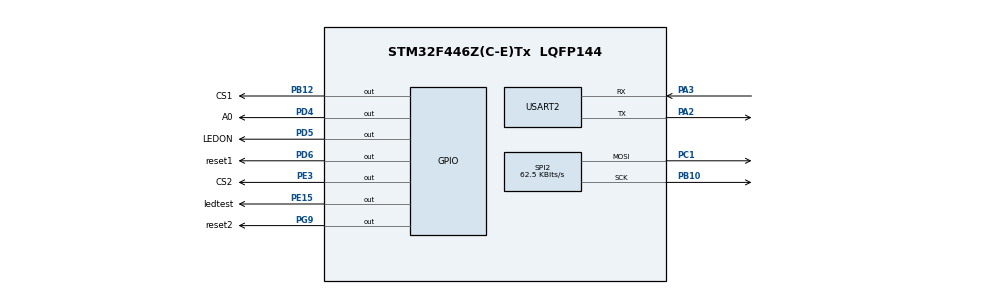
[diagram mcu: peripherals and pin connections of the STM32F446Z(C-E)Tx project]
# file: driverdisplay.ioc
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FREERTOS.Tasks01=defaultTask,24,128,StartDefaultTask,Default,NULL,Dynamic,NULL,NULL
FREERTOS.configUSE_NEWLIB_REENTRANT=1
Mcu.Family=STM32F4
Mcu.Name=STM32F446Z(C-E)Tx
Mcu.Package=LQFP144
NVIC.PriorityGroup=NVIC_PRIORITYGROUP_4
NVIC.TIM6_DAC_IRQn=true\:15\:0\:false\:false\:true\:false\:false\:true
NVIC.TimeBase=TIM6_DAC_IRQn
NVIC.TimeBaseIP=TIM6
PA13.Mode=Serial_Wire
PA13.Signal=SYS_JTMS-SWDIO
PA14.Mode=Serial_Wire
PA14.Signal=SYS_JTCK-SWCLK
PA2.Mode=Asynchronous
PA2.Signal=USART2_TX
PA3.Mode=Asynchronous
PA3.Signal=USART2_RX
PB10.Mode=TX_Only_Simplex_Unidirect_Master
PB10.Signal=SPI2_SCK
PB12.GPIO_Label=CS1
PB12.Signal=GPIO_Output
PC1.Mode=TX_Only_Simplex_Unidirect_Master
PC1.Signal=SPI2_MOSI
PD4.GPIO_Label=A0
PD4.Signal=GPIO_Output
PD5.GPIO_Label=LEDON
PD5.Signal=GPIO_Output
PD6.GPIO_Label=reset1
PD6.Signal=GPIO_Output
PE15.GPIO_Label=ledtest
PE15.Signal=GPIO_Output
PE3.GPIO_Label=CS2
PE3.Signal=GPIO_Output
PG9.GPIO_Label=reset2
PG9.Signal=GPIO_Output
ProjectManager.HeapSize=0x200
ProjectManager.StackSize=0x400
ProjectManager.TargetToolchain=STM32CubeIDE
RCC.CortexFreq_Value=16000000
RCC.USBFreq_Value=96000000
RCC.VCOOutputFreq_Value=192000000
SPI2.BaudRatePrescaler=SPI_BAUDRATEPRESCALER_256
SPI2.CLKPhase=SPI_PHASE_2EDGE
SPI2.CLKPolarity=SPI_POLARITY_HIGH
SPI2.CalculateBaudRate=62.5 KBits/s
SPI2.Direction=SPI_DIRECTION_2LINES
SPI2.Mode=SPI_MODE_MASTER
SPI2.VirtualType=VM_MASTER
USART2.VirtualMode=VM_ASYNC
VP_FREERTOS_VS_CMSIS_V2.Mode=CMSIS_V2
VP_SYS_VS_tim6.Mode=TIM6
VP_TIM7_VS_ClockSourceINT.Mode=Enable_Timer
board=custom

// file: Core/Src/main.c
/* USER CODE BEGIN Header */
/**
  ******************************************************************************
  * @file           : main.c
  * @brief          : Main program body
  ******************************************************************************
  * @attention
  *
  * Copyright (c) 2022 STMicroelectronics.
  * All rights reserved.
  *
  * This software is licensed under terms that can be found in the LICENSE file
  * in the root directory of this software component.
  * If no LICENSE file comes with this software, it is provided AS-IS.
  *
  ******************************************************************************
  */
/* USER CODE END Header */
#include "main.h"
#include "cmsis_os.h"

/* USER CODE BEGIN Includes */
#include "glcd.h"
#include "fonts/font5x7.h"
#include "fonts/Liberation_Sans20x28_Numbers.h"
#include "fonts/Liberation_Sans17x17_Alpha.h"
#include <time.h>
#include <stdlib.h>
/* USER CODE END Includes */

/* USER CODE BEGIN PD */
#define MAX_SPI_TRANSMIT_TIMEOUT 50 //in ms, arbitrarily chosen
#define MAX_UART_TRANSMIT_TIMEOUT 50 //in ms, arbitrarily chosen

// pins
#define SCK_PORT GPIOB
#define SCK_PIN GPIO_PIN_10
#define SI_PORT GPIOC
#define SI_PIN GPIO_PIN_1
#define CS1_PORT GPIOB
#define CS1_PIN GPIO_PIN_12
#define CS2_PORT GPIOE
#define CS2_PIN GPIO_PIN_3
#define RST1_PORT GPIOD
#define RST1_PIN GPIO_PIN_6
#define RST2_PORT GPIOG
#define RST2_PIN GPIO_PIN_9
#define A0_PORT GPIOD
#define A0_PIN GPIO_PIN_4
#define LEDON_PORT GPIOD
#define LEDON_PIN GPIO_PIN_5

//DEBUG PURPOSES
//#define DELAY_BETWEEN_WRITES
#define DELAY_DURATION_BETWEEN_WRITES 100
/* USER CODE END PD */

SPI_HandleTypeDef hspi2;

TIM_HandleTypeDef htim7;

UART_HandleTypeDef huart2;

/* Definitions for defaultTask */
osThreadId_t defaultTaskHandle;
const osThreadAttr_t defaultTask_attributes = {
  .name = "defaultTask",
  .stack_size = 128 * 4,
  .priority = (osPriority_t) osPriorityNormal,
};

void SystemClock_Config(void);
static void MX_GPIO_Init(void);
static void MX_SPI2_Init(void);
static void MX_TIM7_Init(void);
static void MX_USART2_UART_Init(void);
void StartDefaultTask(void *argument);

/* USER CODE BEGIN 0 */
uint8_t correct_Y(uint8_t y){
	return ((y+48)%64);
}

// p1 stuff start

void drawP1Default(int value[4]){
	char* labelsP1[] = {"Solar:", "Motor:", "Battery:"};
	int labelsP1L = 3;
	char* labelspeed = "km/h";

	glcd_tiny_set_font(Font5x7,5,7,32,127);
	glcd_clear_buffer();

	// start drawing at y = 5
	uint8_t y = 5;

	// draw the labels
	for(int i = 0; i < labelsP1L; i++){
		char* label = labelsP1[i];
		int j = 0;
		// char by char cuz draw xy only with char
		while(label[j] != 0){
			glcd_tiny_draw_char_xy(j*6, correct_Y(y), label[j]);
			j++;
		}
		glcd_tiny_draw_char_xy(72, correct_Y(y), 'w');
		// go next rows, these value are just what I think will look good
		y+=23;
	}

	// draw divider line
	glcd_draw_line(81, 0,  81, 63, BLACK);
	int x = 0;
	// draw km/h
	while(labelspeed[x] != 0){
		glcd_tiny_draw_char_xy(94+(x*6), correct_Y(52), labelspeed[x]);
		x++;
	}

	// draw the numbers
	char valueS[4][4];

	// get it in strings
	for(int i = 0; i < 4; i++){
		// sign
		int v = value[i];
		if(v<0){
			valueS[i][0] = '-';
			v *= -1;
		}
		else{
			valueS[i][0] = '+';
		}
		// hundred
		if(v/100 != 0){
			valueS[i][1] = '0' + v/100;
		}
		else{
			valueS[i][1] = ' ';
		}
		// tenth
		if((v/10)%10 != 0 || valueS[i][1] != ' '){
			valueS[i][2] = '0' + (v/10)%10;
		}
		else{
			valueS[i][2] = ' ';
		}
		// ones
		valueS[i][3] = '0' + v%10;
	}

	// write the 3 small values
	y = 5;
	for(int i = 0; i < 3; i++){
		for(int j = 0; j < 4; j++){
			glcd_tiny_draw_char_xy(48+(j*6), correct_Y(y), valueS[i][j]);
		}
		y+=23;
	}

	// now write the big speed
	glcd_set_font(Liberation_Sans20x28_Numbers, 20, 28, '.', '9');
	glcd_draw_char_xy(85, 0, valueS[3][2]);
	glcd_draw_char_xy(105, 0, valueS[3][3]);

	HAL_GPIO_WritePin(CS1_GPIO_Port, CS1_Pin, GPIO_PIN_RESET);
	glcd_write();
	HAL_GPIO_WritePin(CS1_GPIO_Port, CS1_Pin, GPIO_PIN_SET);
}

void drawP1Detailed(int value[9]){
	char* labelsP1[] = {"Solar:", "Motor:", "Battery:"};
	int labelsP1L = 3;

	glcd_tiny_set_font(Font5x7,5,7,32,127);
	glcd_clear_buffer();

	// start drawing at y = 5
	uint8_t y = 5;

	// draw the labels
	for(int i = 0; i < labelsP1L; i++){
		char* label = labelsP1[i];
		int j = 0;
		// char by char cuz draw xy only with char
		while(label[j] != 0){
			glcd_tiny_draw_char_xy(j*6, correct_Y(y), label[j]);
			j++;
		}
		glcd_tiny_draw_char_xy(72, correct_Y(y), 'w');
		// go next rows, these value are just what I think will look good
		y+=23;
	}

	// draw the numbers
	char valueS[9][4];

	glcd_tiny_set_font(Font5x7,5,7,32,127);

	// get it in strings
	for(int i = 0; i < 9; i++){
		// sign
		int v = value[i];
		if(v<0){
			valueS[i][0] = '-';
			v *= -1;
		}
		else{
			valueS[i][0] = '+';
		}
		// hundred
		if(v/100 != 0){
			valueS[i][1] = '0' + v/100;
		}
		else{
			valueS[i][1] = ' ';
		}
		// tenth
		if((v/10)%10 != 0 || valueS[i][1] != ' '){
			valueS[i][2] = '0' + (v/10)%10;
		}
		else{
			valueS[i][2] = ' ';
		}
		// ones
		valueS[i][3] = '0' + v%10;
	}

	// write the 3 small values
	y = 5;
	for(int i = 0; i < 3; i++){
		for(int j = 0; j < 4; j++){
			glcd_tiny_draw_char_xy(48+(j*6), correct_Y(y), valueS[i][j]);
		}
		y+=23;
	}

	// write the 6 small values
	y = 5;
	for(int i = 3; i < 9; i+=2){
        glcd_tiny_draw_char_xy(78, correct_Y(y), '(');
        glcd_tiny_draw_char_xy(82, correct_Y(y), valueS[i][2]);
        glcd_tiny_draw_char_xy(87, correct_Y(y), valueS[i][3]);
        glcd_tiny_draw_char_xy(92, correct_Y(y), 'V');
        glcd_tiny_draw_char_xy(97, correct_Y(y), ',');
        glcd_tiny_draw_char_xy(102, correct_Y(y), valueS[i+1][2]);
        glcd_tiny_draw_char_xy(107, correct_Y(y), valueS[i+1][3]);
        glcd_tiny_draw_char_xy(112, correct_Y(y), 'A');
        glcd_tiny_draw_char_xy(117, correct_Y(y), ')');
		y+=23;
	}

	HAL_GPIO_WritePin(CS1_GPIO_Port, CS1_Pin, GPIO_PIN_RESET);
	glcd_write();
	HAL_GPIO_WritePin(CS1_GPIO_Port, CS1_Pin, GPIO_PIN_SET);
}

void drawP1Activate(){
	char* labels[] = {"CRUISE CONTROL", "ACTIVATED"};

	glcd_tiny_set_font(Font5x7,5,7,32,127);
	glcd_clear_buffer();

	// start drawing at y = 5
	uint8_t y = 12;
    uint8_t x = 22;

    char* ptr = labels[0];

    while(*ptr != '\0'){
        glcd_tiny_draw_char_xy(x, correct_Y(y), *ptr);
        x+=6;
    }

    y = 36;
    x = 37;

    ptr = labels[1];

    while(*ptr != '\0'){
        glcd_tiny_draw_char_xy(x, correct_Y(y), *ptr);
        x+=6;
    }

	HAL_GPIO_WritePin(CS1_GPIO_Port, CS1_Pin, GPIO_PIN_RESET);
	glcd_write();
	HAL_GPIO_WritePin(CS1_GPIO_Port, CS1_Pin, GPIO_PIN_SET);
}

void drawP1Deactivate(){
	char* labels[] = {"CRUISE CONTROL", "DEACTIVATED"};

	glcd_tiny_set_font(Font5x7,5,7,32,127);
	glcd_clear_buffer();

	// start drawing at y = 5
	uint8_t y = 12;
    uint8_t x = 22;

    char* ptr = labels[0];

    while(*ptr != '\0'){
        glcd_tiny_draw_char_xy(x, correct_Y(y), *ptr);
        x+=6;
    }

    y = 36;
    x = 31;

    ptr = labels[1];

    while(*ptr != '\0'){
        glcd_tiny_draw_char_xy(x, correct_Y(y), *ptr);
        x+=6;
    }

	HAL_GPIO_WritePin(CS1_GPIO_Port, CS1_Pin, GPIO_PIN_RESET);
	glcd_write();
	HAL_GPIO_WritePin(CS1_GPIO_Port, CS1_Pin, GPIO_PIN_SET);
}

void drawP1IgnitionOff(){
    char* labels[] = {"CAR IS", "SLEEPING"};

	glcd_tiny_set_font(Font5x7,5,7,32,127);
	glcd_clear_buffer();

	// start drawing at y = 5
	uint8_t y = 12;
    uint8_t x = 46;

    char* ptr = labels[0];

    while(*ptr != '\0'){
        glcd_tiny_draw_char_xy(x, correct_Y(y), *ptr);
        x+=6;
    }

    y = 36;
    x = 40;

    ptr = labels[1];

    while(*ptr != '\0'){
        glcd_tiny_draw_char_xy(x, correct_Y(y), *ptr);
        x+=6;
    }

	HAL_GPIO_WritePin(CS1_GPIO_Port, CS1_Pin, GPIO_PIN_RESET);
	glcd_write();
	HAL_GPIO_WritePin(CS1_GPIO_Port, CS1_Pin, GPIO_PIN_SET);
}

void drawP1BMSFault(){
    char* labels[] = {"BMS FAULT DETECTED", "CAR OFF"};

	glcd_tiny_set_font(Font5x7,5,7,32,127);
	glcd_clear_buffer();

	// start drawing at y = 5
	uint8_t y = 12;
    uint8_t x = 10;

    char* ptr = labels[0];

    while(*ptr != '\0'){
        glcd_tiny_draw_char_xy(x, correct_Y(y), *ptr);
        x+=6;
    }

    y = 36;
    x = 43;

    ptr = labels[1];

    while(*ptr != '\0'){
        glcd_tiny_draw_char_xy(x, correct_Y(y), *ptr);
        x+=6;
    }

	HAL_GPIO_WritePin(CS1_GPIO_Port, CS1_Pin, GPIO_PIN_RESET);
	glcd_write();
	HAL_GPIO_WritePin(CS1_GPIO_Port, CS1_Pin, GPIO_PIN_SET);
}

// draw p1
void drawP1(){
	int defaultTest[4] = {420, 874, -454, 69};
	int defaultDetailed[9] = {1, 2, 3, 4, 5, 6, 7, 8, 9};
	drawP1Default(defaultTest);
//	drawP1Detailed(defaultDetailed);
//	drawP1Activate();
//	drawP1Deactivate();
//	drawP1IgnitionOff();
//	drawP1BMSFault();
}

// p2 stuff start
void drawP2Default(int value[4]){
	char* labelsP2[] = {"Cruise:", "Light:"};
	int labelsP2L = 2;

	glcd_tiny_set_font(Font5x7,5,7,32,127);
	glcd_clear_buffer();

	uint8_t y = 5;
	for(int i = 0; i < labelsP2L; i++){
		char* label = labelsP2[i];
		int j = 0;
		while(label[j] != 0){
			glcd_tiny_draw_char_xy(50+j*6, correct_Y(y), label[j]);
			j++;
		}
		y+=23;
	}

	glcd_draw_line(44, 0,  44, 63, BLACK);
	glcd_tiny_draw_char_xy(19, correct_Y(52), '%');

    glcd_tiny_set_font(Font5x7,5,7,32,127);

	// write the 2 on off
	y = 5;
	for(int i = 0; i < 2; i++){
		char* status = "OFF";
		if(value[i]) status = " ON";
		for(int j = 0; j < 3; j++){
			glcd_tiny_draw_char_xy(95+(j*6), correct_Y(y), status[j]);
		}
		y+=23;
	}

	char* regen = "     ";
	if(value[2]) regen = "REGEN";

	glcd_set_font(Liberation_Sans17x17_Alpha, 17, 17, 'A', 'Z');
	for(int i = 0; i < 5; i++){
		glcd_draw_char_xy(49+i*15, 30, regen[i]);
	}

	// now write the big battery
	glcd_set_font(Liberation_Sans20x28_Numbers, 20, 28, '.', '9');
	glcd_draw_char_xy(0, 0, '0' + value[3]/10);
	glcd_draw_char_xy(21, 0, '0' + value[3]%10);

	HAL_GPIO_WritePin(CS2_GPIO_Port, CS2_Pin, GPIO_PIN_RESET);
	glcd_write();
	HAL_GPIO_WritePin(CS2_GPIO_Port, CS2_Pin, GPIO_PIN_SET);
}

void drawP2Detailed(int value[4]){
	char* labelsP2[] = {"Low voltage:", "Max pack temp:"};
	int labelsP2L = 2;

	glcd_tiny_set_font(Font5x7,5,7,32,127);
	glcd_clear_buffer();

	uint8_t y = 5;
	for(int i = 0; i < labelsP2L; i++){
		char* label = labelsP2[i];
		int j = 0;
		while(label[j] != 0){
			glcd_tiny_draw_char_xy(j*(5), correct_Y(y), label[j]);
			j++;
		}
		y+=23;
	}

    // draw the numbers
	char valueS[4][4];

	// get it in strings
	for(int i = 0; i < 4; i++){
		// sign
		int v = value[i];
		if(v<0){
			valueS[i][0] = '-';
			v *= -1;
		}
		else{
			valueS[i][0] = '+';
		}
		// hundred
		if(v/100 != 0){
			valueS[i][1] = '0' + v/100;
		}
		else{
			valueS[i][1] = ' ';
		}
		// tenth
		if((v/10)%10 != 0 || valueS[i][1] != ' '){
			valueS[i][2] = '0' + (v/10)%10;
		}
		else{
			valueS[i][2] = ' ';
		}
		// ones
		valueS[i][3] = '0' + v%10;
	}

    // write the 4 small values
	y = 5;
    // the watt and V and A
    glcd_tiny_draw_char_xy(60, correct_Y(y), valueS[0][2]);
    glcd_tiny_draw_char_xy(65, correct_Y(y), valueS[0][3]);
    glcd_tiny_draw_char_xy(70, correct_Y(y), 'W');
    glcd_tiny_draw_char_xy(75, correct_Y(y), '(');
    glcd_tiny_draw_char_xy(80, correct_Y(y), valueS[1][2]);
    glcd_tiny_draw_char_xy(85, correct_Y(y), valueS[1][3]);
    glcd_tiny_draw_char_xy(90, correct_Y(y), 'V');
    glcd_tiny_draw_char_xy(95, correct_Y(y), ',');
    glcd_tiny_draw_char_xy(100, correct_Y(y), valueS[2][2]);
    glcd_tiny_draw_char_xy(105, correct_Y(y), valueS[2][3]);
    glcd_tiny_draw_char_xy(110, correct_Y(y), 'A');
    glcd_tiny_draw_char_xy(115, correct_Y(y), ')');
    // the temp
    y+=23;
    glcd_tiny_draw_char_xy(70, correct_Y(y), valueS[3][0]);
    glcd_tiny_draw_char_xy(75, correct_Y(y), valueS[3][1]);
    glcd_tiny_draw_char_xy(80, correct_Y(y), valueS[3][2]);
    glcd_tiny_draw_char_xy(85, correct_Y(y), valueS[3][3]);
    glcd_tiny_draw_char_xy(90, correct_Y(y), 'C');

	HAL_GPIO_WritePin(CS2_GPIO_Port, CS2_Pin, GPIO_PIN_RESET);
	glcd_write();
	HAL_GPIO_WritePin(CS2_GPIO_Port, CS2_Pin, GPIO_PIN_SET);
}

void drawP2Activate(){
	char* labels[] = {"CRUISE CONTROL", "ACTIVATED"};

	glcd_tiny_set_font(Font5x7,5,7,32,127);
	glcd_clear_buffer();

	// start drawing at y = 5
	uint8_t y = 12;
    uint8_t x = 22;

    char* ptr = labels[0];

    while(*ptr != '\0'){
        glcd_tiny_draw_char_xy(x, correct_Y(y), *ptr);
        x+=6;
        ptr++;
    }

    y = 36;
    x = 37;

    ptr = labels[1];

    while(*ptr != '\0'){
        glcd_tiny_draw_char_xy(x, correct_Y(y), *ptr);
        x+=6;
        ptr++;
    }

    HAL_GPIO_WritePin(CS2_GPIO_Port, CS2_Pin, GPIO_PIN_RESET);
	glcd_write();
	HAL_GPIO_WritePin(CS2_GPIO_Port, CS2_Pin, GPIO_PIN_SET);
}

void drawP2Deactivate(){
	char* labels[] = {"CRUISE CONTROL", "DEACTIVATED"};

	glcd_tiny_set_font(Font5x7,5,7,32,127);
	glcd_clear_buffer();

	// start drawing at y = 5
	uint8_t y = 12;
    uint8_t x = 22;

    char* ptr = labels[0];

    while(*ptr != '\0'){
        glcd_tiny_draw_char_xy(x, correct_Y(y), *ptr);
        x+=6;
        ptr++;
    }

    y = 36;
    x = 31;

    ptr = labels[1];

    while(*ptr != '\0'){
        glcd_tiny_draw_char_xy(x, correct_Y(y), *ptr);
        x+=6;
        ptr++;
    }

    HAL_GPIO_WritePin(CS2_GPIO_Port, CS2_Pin, GPIO_PIN_RESET);
	glcd_write();
	HAL_GPIO_WritePin(CS2_GPIO_Port, CS2_Pin, GPIO_PIN_SET);
}

void drawP2IgnitionOff(int value[4]){
	char* labelsP2[] = {"HV:", "LV:", "Battery:"};
	int labelsP2L = 3;

	glcd_tiny_set_font(Font5x7,5,7,32,127);
	glcd_clear_buffer();

	uint8_t y = 5;
	for(int i = 0; i < labelsP2L; i++){
		char* label = labelsP2[i];
		int j = 0;
		while(label[j] != 0){
			glcd_tiny_draw_char_xy(j*6, correct_Y(y), label[j]);
			j++;
		}
		y+=23;
	}

    // draw the numbers
	char valueS[4][4];

	// get it in strings
	for(int i = 0; i < 4; i++){
		// sign
		int v = value[i];
		if(v<0){
			valueS[i][0] = '-';
			v *= -1;
		}
		else{
			valueS[i][0] = '+';
		}
		// hundred
		if(v/100 != 0){
			valueS[i][1] = '0' + v/100;
		}
		else{
			valueS[i][1] = ' ';
		}
		// tenth
		if((v/10)%10 != 0 || valueS[i][1] != ' '){
			valueS[i][2] = '0' + (v/10)%10;
		}
		else{
			valueS[i][2] = ' ';
		}
		// ones
		valueS[i][3] = '0' + v%10;
	}

	// write the 4 small values
	y = 5;
	for(int i = 0; i < 3; i++){
        switch(i){
            case 0:
                glcd_tiny_draw_char_xy(48, correct_Y(y), valueS[0][2]);
                glcd_tiny_draw_char_xy(54, correct_Y(y), valueS[0][3]);
                glcd_tiny_draw_char_xy(60, correct_Y(y), 'V');
                break;
            case 1:
                glcd_tiny_draw_char_xy(48, correct_Y(y), valueS[1][2]);
                glcd_tiny_draw_char_xy(54, correct_Y(y), valueS[1][3]);
                glcd_tiny_draw_char_xy(60, correct_Y(y), 'V');
                glcd_tiny_draw_char_xy(66, correct_Y(y), '(');
                glcd_tiny_draw_char_xy(72, correct_Y(y), valueS[2][2]);
                glcd_tiny_draw_char_xy(78, correct_Y(y), valueS[2][3]);
                glcd_tiny_draw_char_xy(84, correct_Y(y), 'W');
                glcd_tiny_draw_char_xy(90, correct_Y(y), ')');
                break;
            case 2:
                glcd_tiny_draw_char_xy(48, correct_Y(y), valueS[3][2]);
                glcd_tiny_draw_char_xy(54, correct_Y(y), valueS[3][3]);
                glcd_tiny_draw_char_xy(60, correct_Y(y), '%');
                break;
            default:
                break;
        }
		for(int j = 0; j < 4; j++){
			glcd_tiny_draw_char_xy(48+(j*6), correct_Y(y), valueS[i][j]);
		}
		y+=23;
	}

	HAL_GPIO_WritePin(CS2_GPIO_Port, CS2_Pin, GPIO_PIN_RESET);
	glcd_write();
	HAL_GPIO_WritePin(CS2_GPIO_Port, CS2_Pin, GPIO_PIN_SET);
}

void drawP2BMSFault(int value[4]){
	char* labelsP2[] = {"HV:", "LV:", "Battery:"};
	int labelsP2L = 3;

	glcd_tiny_set_font(Font5x7,5,7,32,127);
	glcd_clear_buffer();

	uint8_t y = 5;
	for(int i = 0; i < labelsP2L; i++){
		char* label = labelsP2[i];
		int j = 0;
		while(label[j] != 0){
			glcd_tiny_draw_char_xy(j*6, correct_Y(y), label[j]);
			j++;
		}
		y+=23;
	}

    // draw the numbers
	char valueS[4][4];

	// get it in strings
	for(int i = 0; i < 4; i++){
		// sign
		int v = value[i];
		if(v<0){
			valueS[i][0] = '-';
			v *= -1;
		}
		else{
			valueS[i][0] = '+';
		}
		// hundred
		if(v/100 != 0){
			valueS[i][1] = '0' + v/100;
		}
		else{
			valueS[i][1] = ' ';
		}
		// tenth
		if((v/10)%10 != 0 || valueS[i][1] != ' '){
			valueS[i][2] = '0' + (v/10)%10;
		}
		else{
			valueS[i][2] = ' ';
		}
		// ones
		valueS[i][3] = '0' + v%10;
	}

	// write the 4 small values
	y = 5;
	for(int i = 0; i < 3; i++){
        switch(i){
            case 0:
                glcd_tiny_draw_char_xy(48, correct_Y(y), valueS[0][2]);
                glcd_tiny_draw_char_xy(54, correct_Y(y), valueS[0][3]);
                glcd_tiny_draw_char_xy(60, correct_Y(y), 'V');
                break;
            case 1:
                glcd_tiny_draw_char_xy(48, correct_Y(y), valueS[1][2]);
                glcd_tiny_draw_char_xy(54, correct_Y(y), valueS[1][3]);
                glcd_tiny_draw_char_xy(60, correct_Y(y), 'V');
                glcd_tiny_draw_char_xy(66, correct_Y(y), '(');
                glcd_tiny_draw_char_xy(72, correct_Y(y), valueS[2][2]);
                glcd_tiny_draw_char_xy(78, correct_Y(y), valueS[2][3]);
                glcd_tiny_draw_char_xy(84, correct_Y(y), 'W');
                glcd_tiny_draw_char_xy(90, correct_Y(y), ')');
                break;
            case 2:
                glcd_tiny_draw_char_xy(48, correct_Y(y), valueS[3][2]);
                glcd_tiny_draw_char_xy(54, correct_Y(y), valueS[3][3]);
                glcd_tiny_draw_char_xy(60, correct_Y(y), '%');
                break;
            default:
                break;
        }
		for(int j = 0; j < 4; j++){
			glcd_tiny_draw_char_xy(48+(j*6), correct_Y(y), valueS[i][j]);
		}
		y+=23;
	}

	HAL_GPIO_WritePin(CS2_GPIO_Port, CS2_Pin, GPIO_PIN_RESET);
	glcd_write();
	HAL_GPIO_WritePin(CS2_GPIO_Port, CS2_Pin, GPIO_PIN_SET);
}

// draw p2
void drawP2(){
	int defaultTest[4] = {1, 0, 1, 87};
	int defaultDetailed[4] = {1, 2, 3, 4};
	int defaultBMSFault[4] = {89, 13, 13, 49};
	drawP2Default(defaultTest);
//	drawP2Detailed(defaultDetailed);
//	drawP2Activate();
//	drawP2Deactivate();
//	drawP2IgnitionOff(defaultBMSFault);
//	drawP2BMSFault(defaultBMSFault);
}

/* USER CODE END 0 */

int main(void)
{

  /* MCU Configuration--------------------------------------------------------*/

  /* Reset of all peripherals, Initializes the Flash interface and the Systick. */
  HAL_Init();

  /* Configure the system clock */
  SystemClock_Config();

  /* Initialize all configured peripherals */
  MX_GPIO_Init();
  MX_SPI2_Init();
  MX_TIM7_Init();
  MX_USART2_UART_Init();

  /* Init scheduler */
  osKernelInitialize();

  /* Create the thread(s) */
  /* creation of defaultTask */
  defaultTaskHandle = osThreadNew(StartDefaultTask, NULL, &defaultTask_attributes);

  /* Start scheduler */
  osKernelStart();

  /* We should never get here as control is now taken by the scheduler */
  /* Infinite loop */
  while (1)
  {

    /* USER CODE BEGIN 3 x*/
	HAL_GPIO_WritePin(GPIOE, ledtest_Pin, GPIO_PIN_SET);
	HAL_Delay(250);

	HAL_GPIO_WritePin(GPIOE, ledtest_Pin, GPIO_PIN_RESET);
	HAL_Delay(500);
  }
  /* USER CODE END 3 */
}

void SystemClock_Config(void)
{
  RCC_OscInitTypeDef RCC_OscInitStruct = {0};
  RCC_ClkInitTypeDef RCC_ClkInitStruct = {0};

  /** Configure the main internal regulator output voltage
  */
  __HAL_RCC_PWR_CLK_ENABLE();
  __HAL_PWR_VOLTAGESCALING_CONFIG(PWR_REGULATOR_VOLTAGE_SCALE3);
  /** Initializes the RCC Oscillators according to the specified parameters
  * in the RCC_OscInitTypeDef structure.
  */
  RCC_OscInitStruct.OscillatorType = RCC_OSCILLATORTYPE_HSI;
  RCC_OscInitStruct.HSIState = RCC_HSI_ON;
  RCC_OscInitStruct.HSICalibrationValue = RCC_HSICALIBRATION_DEFAULT;
  RCC_OscInitStruct.PLL.PLLState = RCC_PLL_NONE;
  if (HAL_RCC_OscConfig(&RCC_OscInitStruct) != HAL_OK)
  {
    Error_Handler();
  }
  /** Initializes the CPU, AHB and APB buses clocks
  */
  RCC_ClkInitStruct.ClockType = RCC_CLOCKTYPE_HCLK|RCC_CLOCKTYPE_SYSCLK
                              |RCC_CLOCKTYPE_PCLK1|RCC_CLOCKTYPE_PCLK2;
  RCC_ClkInitStruct.SYSCLKSource = RCC_SYSCLKSOURCE_HSI;
  RCC_ClkInitStruct.AHBCLKDivider = RCC_SYSCLK_DIV1;
  RCC_ClkInitStruct.APB1CLKDivider = RCC_HCLK_DIV1;
  RCC_ClkInitStruct.APB2CLKDivider = RCC_HCLK_DIV1;

  if (HAL_RCC_ClockConfig(&RCC_ClkInitStruct, FLASH_LATENCY_0) != HAL_OK)
  {
    Error_Handler();
  }
}

static void MX_SPI2_Init(void)
{

  /* SPI2 parameter configuration*/
  hspi2.Instance = SPI2;
  hspi2.Init.Mode = SPI_MODE_MASTER;
  hspi2.Init.Direction = SPI_DIRECTION_2LINES;
  hspi2.Init.DataSize = SPI_DATASIZE_8BIT;
  hspi2.Init.CLKPolarity = SPI_POLARITY_HIGH;
  hspi2.Init.CLKPhase = SPI_PHASE_2EDGE;
  hspi2.Init.NSS = SPI_NSS_SOFT;
  hspi2.Init.BaudRatePrescaler = SPI_BAUDRATEPRESCALER_256;
  hspi2.Init.FirstBit = SPI_FIRSTBIT_MSB;
  hspi2.Init.TIMode = SPI_TIMODE_DISABLE;
  hspi2.Init.CRCCalculation = SPI_CRCCALCULATION_DISABLE;
  hspi2.Init.CRCPolynomial = 10;
  if (HAL_SPI_Init(&hspi2) != HAL_OK)
  {
    Error_Handler();
  }

}

static void MX_TIM7_Init(void)
{

  TIM_MasterConfigTypeDef sMasterConfig = {0};

  htim7.Instance = TIM7;
  htim7.Init.Prescaler = 0;
  htim7.Init.CounterMode = TIM_COUNTERMODE_UP;
  htim7.Init.Period = 65535;
  htim7.Init.AutoReloadPreload = TIM_AUTORELOAD_PRELOAD_DISABLE;
  if (HAL_TIM_Base_Init(&htim7) != HAL_OK)
  {
    Error_Handler();
  }
  sMasterConfig.MasterOutputTrigger = TIM_TRGO_RESET;
  sMasterConfig.MasterSlaveMode = TIM_MASTERSLAVEMODE_DISABLE;
  if (HAL_TIMEx_MasterConfigSynchronization(&htim7, &sMasterConfig) != HAL_OK)
  {
    Error_Handler();
  }

}

static void MX_USART2_UART_Init(void)
{

  huart2.Instance = USART2;
  huart2.Init.BaudRate = 115200;
  huart2.Init.WordLength = UART_WORDLENGTH_8B;
  huart2.Init.StopBits = UART_STOPBITS_1;
  huart2.Init.Parity = UART_PARITY_NONE;
  huart2.Init.Mode = UART_MODE_TX_RX;
  huart2.Init.HwFlowCtl = UART_HWCONTROL_NONE;
  huart2.Init.OverSampling = UART_OVERSAMPLING_16;
  if (HAL_UART_Init(&huart2) != HAL_OK)
  {
    Error_Handler();
  }

}

static void MX_GPIO_Init(void)
{
  GPIO_InitTypeDef GPIO_InitStruct = {0};

  /* GPIO Ports Clock Enable */
  __HAL_RCC_GPIOE_CLK_ENABLE();
  __HAL_RCC_GPIOC_CLK_ENABLE();
  __HAL_RCC_GPIOA_CLK_ENABLE();
  __HAL_RCC_GPIOB_CLK_ENABLE();
  __HAL_RCC_GPIOD_CLK_ENABLE();
  __HAL_RCC_GPIOG_CLK_ENABLE();

  /*Configure GPIO pin Output Level */
  HAL_GPIO_WritePin(GPIOE, CS2_Pin|ledtest_Pin, GPIO_PIN_RESET);

  /*Configure GPIO pin Output Level */
  HAL_GPIO_WritePin(CS1_GPIO_Port, CS1_Pin, GPIO_PIN_RESET);

  /*Configure GPIO pin Output Level */
  HAL_GPIO_WritePin(GPIOD, A0_Pin|LEDON_Pin|reset1_Pin, GPIO_PIN_RESET);

  /*Configure GPIO pin Output Level */
  HAL_GPIO_WritePin(reset2_GPIO_Port, reset2_Pin, GPIO_PIN_RESET);

  /*Configure GPIO pins : CS2_Pin ledtest_Pin */
  GPIO_InitStruct.Pin = CS2_Pin|ledtest_Pin;
  GPIO_InitStruct.Mode = GPIO_MODE_OUTPUT_PP;
  GPIO_InitStruct.Pull = GPIO_NOPULL;
  GPIO_InitStruct.Speed = GPIO_SPEED_FREQ_LOW;
  HAL_GPIO_Init(GPIOE, &GPIO_InitStruct);

  /*Configure GPIO pin : CS1_Pin */
  GPIO_InitStruct.Pin = CS1_Pin;
  GPIO_InitStruct.Mode = GPIO_MODE_OUTPUT_PP;
  GPIO_InitStruct.Pull = GPIO_NOPULL;
  GPIO_InitStruct.Speed = GPIO_SPEED_FREQ_LOW;
  HAL_GPIO_Init(CS1_GPIO_Port, &GPIO_InitStruct);

  /*Configure GPIO pins : A0_Pin LEDON_Pin reset1_Pin */
  GPIO_InitStruct.Pin = A0_Pin|LEDON_Pin|reset1_Pin;
  GPIO_InitStruct.Mode = GPIO_MODE_OUTPUT_PP;
  GPIO_InitStruct.Pull = GPIO_NOPULL;
  GPIO_InitStruct.Speed = GPIO_SPEED_FREQ_LOW;
  HAL_GPIO_Init(GPIOD, &GPIO_InitStruct);

  /*Configure GPIO pin : reset2_Pin */
  GPIO_InitStruct.Pin = reset2_Pin;
  GPIO_InitStruct.Mode = GPIO_MODE_OUTPUT_PP;
  GPIO_InitStruct.Pull = GPIO_NOPULL;
  GPIO_InitStruct.Speed = GPIO_SPEED_FREQ_LOW;
  HAL_GPIO_Init(reset2_GPIO_Port, &GPIO_InitStruct);

}

void StartDefaultTask(void *argument)
{
  /* USER CODE BEGIN 5 */
	glcd_init();
	//glcd_test_hello_world();
	//glcd_test_rectangles();
	// my stuff
	glcd_clear();
	srand(time(NULL));   // Initialization, should only be called once.

	int t = 100;		// t is in ms

	/* to try different layout on the panels, edit the drawP1() and drawP2 functions */

	while(1){
		drawP1();
		drawP2();
		delay_ms(t);
	}

	// my stuff

  /* Infinite loop */
  for(;;)
  {
    osDelay(1);
  }
  /* USER CODE END 5 */
}

void HAL_TIM_PeriodElapsedCallback(TIM_HandleTypeDef *htim)
{
  if (htim->Instance == TIM6) {
    HAL_IncTick();
  }
}

void Error_Handler(void)
{
  __disable_irq();
  while (1)
  {
  }
}
